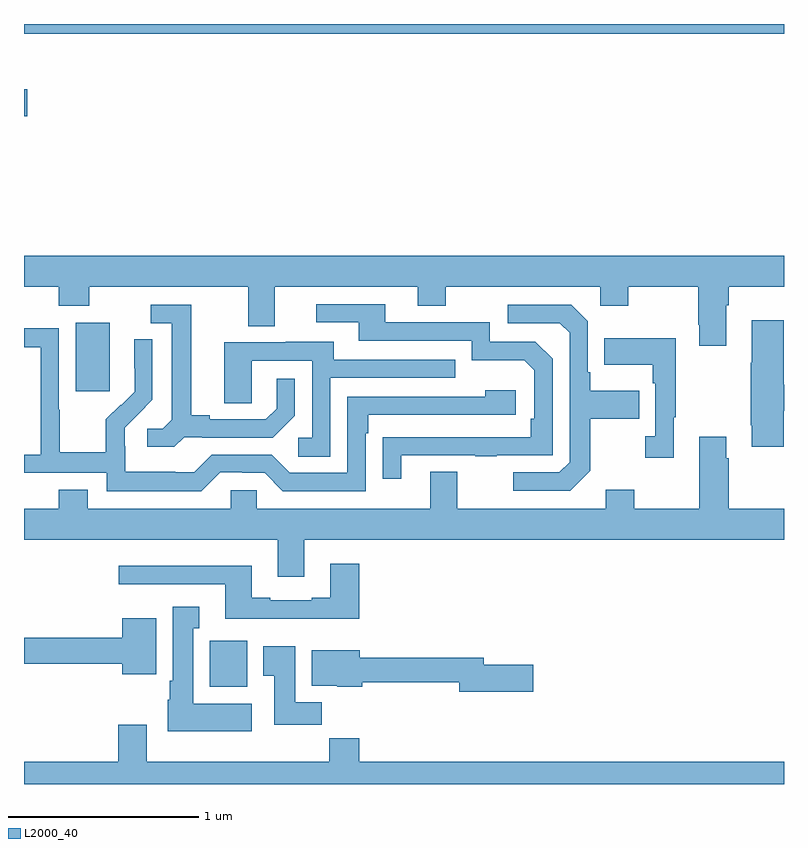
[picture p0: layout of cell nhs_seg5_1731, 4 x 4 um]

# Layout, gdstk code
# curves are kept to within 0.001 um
import gdstk
lib = gdstk.Library(unit=1e-6, precision=1e-09)
def R(c, l, rs):  # rectangles x0, y0, x1, y1
    for r in rs: c.add(gdstk.rectangle(r[:2], r[2:], *l))
def P(c, l, *ps):  # polygons
    for p in ps: c.add(gdstk.Polygon(p, *l))
L2000_40 = (2000, 40)

nhs_seg5_1731 = lib.new_cell('nhs_seg5_1731')
R(nhs_seg5_1731, L2000_40, [(215.978,865.31,216.175,865.552), (215.273,866.865,215.452,867.226), (215,868.313,215.017,868.455), (215,868.748,219,868.799)])
P(nhs_seg5_1731, L2000_40, [(218.695,867.32),(218.708,867.32),(218.708,867.416),(219,867.416),(219,867.58),(215,867.58),(215,867.416),(215.183,867.416),(215.183,867.317),(215.343,867.317),(215.343,867.416),(216.179,867.416),(216.179,867.208),(216.319,867.208),(216.319,867.416),(217.073,867.416),(217.073,867.317),(217.221,867.317),(217.221,867.416),(218.034,867.416),(218.034,867.317),(218.181,867.317),(218.181,867.416),(218.548,867.416),(218.548,867.217),(218.555,867.217),(218.555,867.105),(218.695,867.105)],
  [(216.985,866.529),(217.375,866.529),(217.375,866.524),(217.487,866.524),(217.487,866.529),(217.782,866.529),(217.782,867.036),(217.692,867.126),(217.452,867.126),(217.452,867.228),(216.901,867.228),(216.901,867.324),(216.537,867.324),(216.537,867.228),(216.761,867.228),(216.761,867.132),(217.356,867.132),(217.356,867.029),(217.633,867.029),(217.686,866.976),(217.686,866.722),(217.666,866.722),(217.666,866.625),(216.889,866.624),(216.889,866.406),(216.985,866.406)],
  [(217.981,866.449),(217.981,866.722),(218.237,866.722),(218.237,866.869),(217.981,866.869),(217.981,866.965),(217.968,866.965),(217.968,867.234),(217.881,867.321),(217.545,867.321),(217.545,867.225),(217.821,867.225),(217.872,867.174),(217.872,866.493),(217.818,866.439),(217.575,866.439),(217.575,866.343),(217.875,866.343)],
  [(215.844,866.625),(215.938,866.625),(215.938,866.622),(216.31,866.622),(216.426,866.738),(216.426,866.932),(216.329,866.932),(216.329,866.775),(216.272,866.718),(215.977,866.718),(215.977,866.741),(215.881,866.741),(215.881,867.321),(215.667,867.321),(215.667,867.225),(215.777,867.225),(215.777,866.717),(215.73,866.67),(215.649,866.67),(215.649,866.573),(215.792,866.573)],
  [(218.999,866.764),(219,866.764),(219,866.9),(218.999,866.9),(218.999,867.241),(218.831,867.241),(218.831,867.017),(218.824,867.017),(218.824,866.686),(218.831,866.686),(218.831,866.574),(218.999,866.574)],
  [(216.033,866.439),(216.149,866.439),(216.149,866.436),(216.267,866.436),(216.363,866.34),(216.798,866.34),(216.798,866.645),(216.811,866.645),(216.811,866.742),(217.588,866.742),(217.588,866.872),(217.427,866.872),(217.427,866.838),(216.702,866.838),(216.702,866.436),(216.399,866.436),(216.303,866.532),(215.988,866.532),(215.895,866.439),(215.795,866.439),(215.795,866.443),(215.532,866.443),(215.532,866.577),(215.53,866.577),(215.53,866.674),(215.676,866.822),(215.676,867.14),(215.58,867.14),(215.58,866.986),(215.582,866.986),(215.582,866.864),(215.511,866.793),(215.508,866.796),(215.431,866.719),(215.431,866.545),(215.187,866.545),(215.187,866.768),(215.184,866.768),(215.184,867.198),(215,867.198),(215,867.099),(215.088,867.099),(215.088,866.532),(215,866.532),(215,866.436),(215.436,866.436),(215.436,866.339),(215.933,866.339)],
  [(218.419,866.729),(218.431,866.729),(218.431,867.145),(218.053,867.145),(218.053,867.005),(218.31,867.005),(218.31,866.909),(218.322,866.909),(218.322,866.63),(218.271,866.63),(218.271,866.517),(218.419,866.517)],
  [(216.612,866.937),(217.271,866.937),(217.271,867.033),(216.631,867.033),(216.631,867.127),(216.377,867.127),(216.377,867.123),(216.053,867.123),(216.053,866.803),(216.198,866.803),(216.198,867.027),(216.516,867.027),(216.516,866.622),(216.444,866.622),(216.444,866.521),(216.612,866.521)],
  [(216.475,866.084),(219,866.084),(219,866.248),(218.708,866.248),(218.708,866.513),(218.695,866.513),(218.695,866.626),(218.555,866.626),(218.555,866.248),(218.211,866.248),(218.211,866.347),(218.063,866.347),(218.063,866.248),(217.279,866.248),(217.279,866.443),(217.139,866.443),(217.139,866.248),(216.225,866.248),(216.225,866.346),(216.087,866.346),(216.087,866.248),(215.335,866.248),(215.335,866.347),(215.183,866.347),(215.183,866.248),(215,866.248),(215,866.084),(216.335,866.084),(216.335,865.89),(216.475,865.89)],
  [(216.764,865.957),(216.611,865.957),(216.611,865.78),(216.515,865.78),(216.515,865.767),(216.295,865.767),(216.295,865.78),(216.199,865.78),(216.199,865.948),(215.499,865.948),(215.499,865.851),(216.059,865.851),(216.059,865.67),(216.764,865.67)],
  [(216.199,865.222),(215.89,865.222),(215.89,865.619),(215.923,865.619),(215.923,865.732),(215.783,865.732),(215.783,865.342),(215.768,865.342),(215.768,865.242),(215.756,865.242),(215.756,865.076),(216.199,865.076)],
  [(215.695,865.672),(215.516,865.672),(215.516,865.568),(215,865.568),(215,865.432),(215.516,865.432),(215.516,865.376),(215.695,865.376)],
  [(216.566,865.228),(216.427,865.228),(216.427,865.525),(216.26,865.525),(216.26,865.369),(216.317,865.369),(216.317,865.11),(216.566,865.11)],
  [(217.681,865.427),(217.42,865.427),(217.42,865.463),(216.766,865.463),(216.766,865.504),(216.515,865.504),(216.515,865.316),(216.648,865.316),(216.648,865.31),(216.779,865.31),(216.779,865.335),(217.292,865.335),(217.292,865.285),(217.681,865.285)],
  [(219,864.916),(216.764,864.916),(216.764,865.04),(216.607,865.04),(216.607,864.916),(215.647,864.916),(215.647,865.111),(215.495,865.111),(215.495,864.916),(215,864.916),(215,864.799),(219,864.799)])

lib.write_gds('nhs_seg5_1731.gds')
